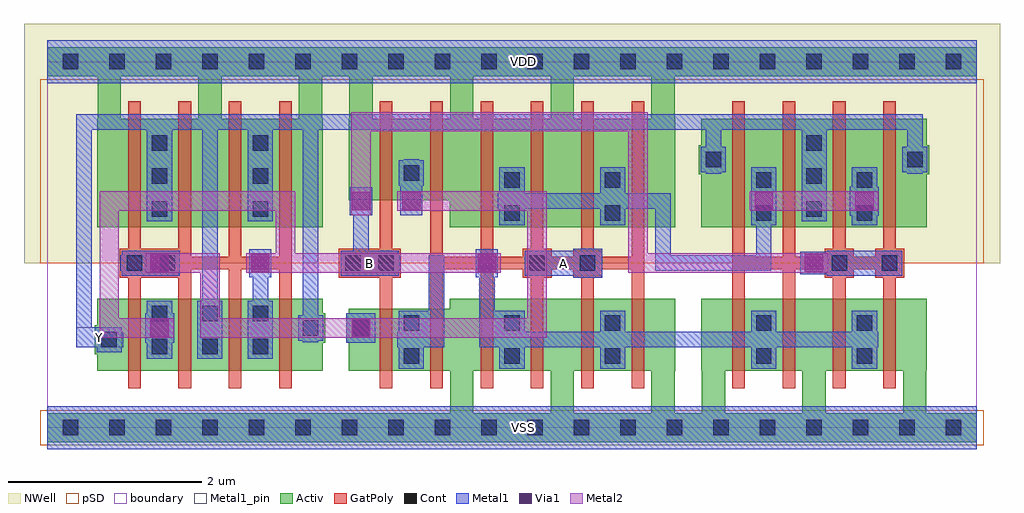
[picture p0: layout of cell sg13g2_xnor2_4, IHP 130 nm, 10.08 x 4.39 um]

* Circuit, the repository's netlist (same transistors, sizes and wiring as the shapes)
.SUBCKT sg13g2_xnor2_4 Y A B VDD VSS
*.PININFO A:I B:I Y:O VDD:B VSS:B
MP4 Y net1 VDD VDD sg13_lv_pmos w=4.48u l=130.00n ng=4
MP3 Y B net4 VDD sg13_lv_pmos w=4.48u l=130.00n ng=4
MP2 net4 A VDD VDD sg13_lv_pmos w=4.48u l=130.00n ng=4
MP1 net1 B VDD VDD sg13_lv_pmos w=840.00n l=130.00n ng=1
MP0 net1 A VDD VDD sg13_lv_pmos w=840.00n l=130.00n ng=1
MN3 Y net1 net3 VSS sg13_lv_nmos w=2.96u l=130.00n ng=4
MN1 net2 A VSS VSS sg13_lv_nmos w=640.00n l=130.00n ng=1
MN0 net1 B net2 VSS sg13_lv_nmos w=640.00n l=130.00n ng=1
MN4 net3 B VSS VSS sg13_lv_nmos w=2.96u l=130.00n ng=4
MN2 net3 A VSS VSS sg13_lv_nmos w=2.96u l=130.00n ng=4
.ENDS

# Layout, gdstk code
import gdstk
lib = gdstk.Library(unit=1e-6, precision=1e-09)
def R(c, l, rs):  # rectangles x0, y0, x1, y1
    for r in rs: c.add(gdstk.rectangle(r[:2], r[2:], *l))
def A(c, l, x, y, w, h, nx, ny, dx, dy):  # array of equal rectangles
    R(c, l, [(x+i*dx, y+j*dy, x+i*dx+w, y+j*dy+h) for i in range(nx) for j in range(ny)])
def P(c, l, *ps):  # polygons
    for p in ps: c.add(gdstk.Polygon(p, *l))
Activ = (1, 0)
GatPoly = (5, 0)
Cont = (6, 0)
Metal1 = (8, 0)
Metal1_pin = (8, 2)
Metal2 = (10, 0)
pSD = (14, 0)
Via1 = (19, 0)
NWell = (31, 0)
boundary = (189, 4)

sg13g2_xnor2_4 = lib.new_cell('sg13g2_xnor2_4')
P(sg13g2_xnor2_4, Activ, [(7,0.59),(7,1.33),(6.755,1.33),(6.755,0.59),(6.76,0.59),(6.76,0.15),(6.48,0.15),(6.48,0.59),(6.485,0.59),(6.485,1.33),(5.44,1.33),(5.44,0.59),(5.44,1.33),(4.4,1.33),(4.4,0.59),(4.4,1.33),(4.155,1.33),(4.155,1.23),(3.115,1.23),(3.115,1.18),(3.09,1.18),(3.09,0.88),(3.115,0.88),(3.115,0.59),(4.16,0.59),(4.16,0.15),(0,0.15),(0,-0.15),(4.4,-0.15),(4.4,0.59),(5.2,0.59),(5.2,0.15),(4.4,0.15),(4.4,-0.15),(5.44,-0.15),(5.44,0.59),(6.24,0.59),(6.24,0.15),(5.44,0.15),(5.44,-0.15),(7,-0.15),(9.6,-0.15),(9.6,0.15),(7,0.15),(7,-0.15),(7,0.59),(7.8,0.59),(7.8,0.15),(8.04,0.15),(8.04,0.59),(8.84,0.59),(8.84,0.15),(9.08,0.15),(9.08,0.59),(9.085,0.59),(9.085,1.33),(7,1.33)],
  [(3.36,3.63),(3.36,3.93),(1.8,3.93),(1.8,3.63),(1.8,3.93),(0.76,3.93),(0.76,3.63),(0.76,3.93),(0,3.93),(0,3.63),(0.52,3.63),(0.52,3.19),(0.515,3.19),(0.515,2.07),(0.76,2.07),(0.76,3.63),(1.56,3.63),(1.56,3.19),(0.76,3.19),(0.76,2.07),(1.8,2.07),(1.8,3.63),(2.6,3.63),(2.6,3.19),(1.8,3.19),(1.8,2.07),(2.845,2.07),(2.845,3.19),(2.84,3.19),(2.84,3.63),(3.12,3.63),(3.12,3.19),(3.115,3.19),(3.115,2.35),(3.36,2.35),(4.155,2.35),(4.155,2.07),(6.485,2.07),(6.485,3.19),(3.36,3.19),(3.36,2.35),(3.36,3.63),(4.16,3.63),(4.16,3.19),(4.4,3.19),(4.4,3.63),(5.2,3.63),(5.2,3.19),(5.44,3.19),(5.44,3.63),(6.24,3.63),(6.24,3.19),(6.48,3.19),(6.48,3.63),(9.6,3.63),(9.6,3.93),(3.36,3.93)],
  [(0.49,0.76),(0.515,0.76),(0.515,0.59),(2.845,0.59),(2.845,0.88),(2.87,0.88),(2.87,1.18),(2.845,1.18),(2.845,1.33),(0.515,1.33),(0.515,1.06),(0.49,1.06)],
  [(6.73,2.62),(6.755,2.62),(6.755,2.07),(9.085,2.07),(9.085,2.62),(9.11,2.62),(9.11,2.92),(9.085,2.92),(9.085,3.19),(6.755,3.19),(6.755,2.92),(6.73,2.92)])
P(sg13g2_xnor2_4, GatPoly, [(0.75,1.55),(0.835,1.55),(0.835,0.41),(0.965,0.41),(0.965,1.55),(1.355,1.55),(1.355,0.41),(1.485,0.41),(1.485,1.635),(1.875,1.635),(1.875,0.41),(2.005,0.41),(2.005,1.635),(2.395,1.635),(2.395,0.41),(2.525,0.41),(2.525,3.37),(2.395,3.37),(2.395,1.765),(2.005,1.765),(2.005,3.37),(1.875,3.37),(1.875,1.765),(1.485,1.765),(1.485,3.37),(1.355,3.37),(1.355,1.85),(0.965,1.85),(0.965,3.37),(0.835,3.37),(0.835,1.85),(0.75,1.85)],
  [(3.01,1.55),(3.435,1.55),(3.435,0.41),(3.565,0.41),(3.565,1.55),(3.65,1.55),(3.65,1.85),(3.565,1.85),(3.565,3.37),(3.435,3.37),(3.435,1.85),(3.01,1.85)],
  [(3.955,0.41),(4.085,0.41),(4.085,1.635),(4.475,1.635),(4.475,0.41),(4.605,0.41),(4.605,1.635),(4.91,1.635),(4.91,1.55),(4.995,1.55),(4.995,0.41),(5.125,0.41),(5.125,1.55),(5.21,1.55),(5.21,1.635),(5.43,1.635),(5.43,1.55),(5.515,1.55),(5.515,0.41),(5.645,0.41),(5.645,1.55),(5.73,1.55),(5.73,1.635),(6.035,1.635),(6.035,0.41),(6.165,0.41),(6.165,3.37),(6.035,3.37),(6.035,1.765),(5.73,1.765),(5.73,1.85),(5.645,1.85),(5.645,3.37),(5.515,3.37),(5.515,1.85),(5.43,1.85),(5.43,1.765),(5.21,1.765),(5.21,1.85),(5.125,1.85),(5.125,3.37),(4.995,3.37),(4.995,1.85),(4.91,1.85),(4.91,1.765),(4.605,1.765),(4.605,3.37),(4.475,3.37),(4.475,1.765),(4.085,1.765),(4.085,3.37),(3.955,3.37)],
  [(7.075,0.41),(7.205,0.41),(7.205,1.635),(7.595,1.635),(7.595,0.41),(7.725,0.41),(7.725,1.635),(8.03,1.635),(8.03,1.55),(8.115,1.55),(8.115,0.41),(8.245,0.41),(8.245,1.55),(8.33,1.55),(8.33,1.635),(8.55,1.635),(8.55,1.55),(8.635,1.55),(8.635,0.41),(8.765,0.41),(8.765,1.55),(8.85,1.55),(8.85,1.85),(8.765,1.85),(8.765,3.37),(8.635,3.37),(8.635,1.85),(8.55,1.85),(8.55,1.765),(8.33,1.765),(8.33,1.85),(8.245,1.85),(8.245,3.37),(8.115,3.37),(8.115,1.85),(8.03,1.85),(8.03,1.765),(7.725,1.765),(7.725,3.37),(7.595,3.37),(7.595,1.765),(7.205,1.765),(7.205,3.37),(7.075,3.37)])
A(sg13g2_xnor2_4, Cont, 0.16, -0.08, 0.16, 0.16, 20, 2, 0.48, 3.78)
A(sg13g2_xnor2_4, Cont, 3.68, 0.66, 0.16, 0.16, 3, 2, 1.04, 0.34)
A(sg13g2_xnor2_4, Cont, 1.08, 0.76, 0.16, 0.16, 3, 2, 0.52, 0.34)
A(sg13g2_xnor2_4, Cont, 1.08, 2.18, 0.16, 0.16, 1, 3, 0, 0.34)
A(sg13g2_xnor2_4, Cont, 2.12, 2.18, 0.16, 0.16, 1, 3, 0, 0.34)
A(sg13g2_xnor2_4, Cont, 7.84, 2.18, 0.16, 0.16, 1, 3, 0, 0.34)
R(sg13g2_xnor2_4, Cont, [(7.32,0.66,7.48,0.82), (8.36,0.66,8.52,0.82), (0.56,0.83,0.72,0.99), (2.64,0.95,2.8,1.11), (3.16,0.95,3.32,1.11), (7.32,1,7.48,1.16), (8.36,1,8.52,1.16), (0.82,1.62,0.98,1.78), (1.16,1.62,1.32,1.78), (3.08,1.62,3.24,1.78), (3.42,1.62,3.58,1.78), (4.98,1.62,5.14,1.78), (5.5,1.62,5.66,1.78), (8.1,1.62,8.26,1.78), (8.62,1.62,8.78,1.78), (4.72,2.14,4.88,2.3), (5.76,2.14,5.92,2.3), (7.32,2.14,7.48,2.3), (8.36,2.14,8.52,2.3), (4.72,2.48,4.88,2.64), (5.76,2.48,5.92,2.64), (7.32,2.48,7.48,2.64), (8.36,2.48,8.52,2.64), (3.68,2.55,3.84,2.71), (6.8,2.69,6.96,2.85), (8.88,2.69,9.04,2.85)])
R(sg13g2_xnor2_4, Metal1, [(0,-0.22,9.6,0.22), (3.09,0.88,3.39,1.18), (0,3.56,9.6,4)])
P(sg13g2_xnor2_4, Metal1, [(0.3,0.83),(0.51,0.83),(0.51,0.78),(0.77,0.78),(0.77,0.83),(0.785,0.83),(0.785,0.99),(0.77,0.99),(0.77,1.04),(0.46,1.04),(0.46,3.08),(1.015,3.08),(1.015,3.07),(1.03,3.07),(1.03,2.13),(1.29,2.13),(1.29,3.07),(1.305,3.07),(1.305,3.08),(1.6,3.08),(1.6,1.31),(1.55,1.31),(1.55,0.71),(1.81,0.71),(1.81,1.31),(1.76,1.31),(1.76,3.08),(2.07,3.08),(2.07,2.13),(2.33,2.13),(2.33,3.08),(2.64,3.08),(2.64,1.16),(2.59,1.16),(2.59,0.9),(2.64,0.9),(2.64,0.885),(2.8,0.885),(2.8,0.9),(2.85,0.9),(2.85,1.16),(2.8,1.16),(2.8,3.08),(6.8,3.08),(6.8,2.9),(6.75,2.9),(6.75,2.64),(6.8,2.64),(6.8,2.625),(6.96,2.625),(6.96,2.64),(7.01,2.64),(7.01,2.9),(6.96,2.9),(6.96,3.08),(7.775,3.08),(7.775,3.07),(7.79,3.07),(7.79,2.13),(8.05,2.13),(8.05,3.07),(8.065,3.07),(8.065,3.08),(8.88,3.08),(8.88,2.9),(8.83,2.9),(8.83,2.64),(8.88,2.64),(8.88,2.625),(9.04,2.625),(9.04,2.64),(9.09,2.64),(9.09,2.9),(9.04,2.9),(9.04,3.24),(0.3,3.24)],
  [(0.755,1.62),(0.77,1.62),(0.77,1.57),(1.37,1.57),(1.37,1.83),(0.77,1.83),(0.77,1.78),(0.755,1.78)],
  [(1.01,0.88),(1.03,0.88),(1.03,0.71),(1.29,0.71),(1.29,0.88),(1.31,0.88),(1.31,1.18),(1.29,1.18),(1.29,1.31),(1.03,1.31),(1.03,1.18),(1.01,1.18)],
  [(2.07,0.71),(2.33,0.71),(2.33,1.31),(2.28,1.31),(2.28,1.555),(2.315,1.555),(2.315,1.845),(2.085,1.845),(2.085,1.555),(2.12,1.555),(2.12,1.31),(2.07,1.31)],
  [(3.03,1.57),(3.63,1.57),(3.63,1.62),(3.645,1.62),(3.645,1.78),(3.63,1.78),(3.63,1.83),(3.32,1.83),(3.32,2.195),(3.355,2.195),(3.355,2.485),(3.125,2.485),(3.125,2.195),(3.16,2.195),(3.16,1.83),(3.03,1.83)],
  [(3.615,0.83),(3.63,0.83),(3.63,0.61),(3.89,0.61),(3.89,0.83),(4.1,0.83),(4.1,1.78),(3.94,1.78),(3.94,1.21),(3.63,1.21),(3.63,0.99),(3.615,0.99)],
  [(3.63,2.5),(3.645,2.5),(3.645,2.195),(3.875,2.195),(3.875,2.5),(3.89,2.5),(3.89,2.76),(3.84,2.76),(3.84,2.775),(3.68,2.775),(3.68,2.76),(3.63,2.76)],
  [(4.425,1.555),(4.46,1.555),(4.46,0.83),(4.67,0.83),(4.67,0.61),(4.93,0.61),(4.93,0.83),(5.71,0.83),(5.71,0.61),(5.97,0.61),(5.97,0.83),(7.27,0.83),(7.27,0.61),(7.53,0.61),(7.53,0.83),(8.31,0.83),(8.31,0.61),(8.57,0.61),(8.57,0.83),(8.585,0.83),(8.585,0.99),(8.57,0.99),(8.57,1.21),(8.31,1.21),(8.31,0.99),(7.53,0.99),(7.53,1.21),(7.27,1.21),(7.27,0.99),(5.97,0.99),(5.97,1.21),(5.71,1.21),(5.71,0.99),(4.93,0.99),(4.93,1.21),(4.62,1.21),(4.62,1.555),(4.655,1.555),(4.655,1.845),(4.425,1.845)],
  [(4.655,2.26),(4.67,2.26),(4.67,2.09),(4.93,2.09),(4.93,2.26),(5.71,2.26),(5.71,2.09),(5.97,2.09),(5.97,2.26),(6.28,2.26),(6.28,1.62),(7.48,1.62),(7.48,2.09),(7.53,2.09),(7.53,2.69),(7.27,2.69),(7.27,2.09),(7.32,2.09),(7.32,1.78),(6.44,1.78),(6.44,2.42),(5.97,2.42),(5.97,2.69),(5.71,2.69),(5.71,2.42),(4.93,2.42),(4.93,2.69),(4.67,2.69),(4.67,2.42),(4.655,2.42)],
  [(4.93,1.57),(5.43,1.57),(5.43,1.55),(5.73,1.55),(5.73,1.85),(5.43,1.85),(5.43,1.83),(4.93,1.83)],
  [(7.775,1.585),(8.05,1.585),(8.05,1.57),(8.83,1.57),(8.83,1.83),(8.05,1.83),(8.05,1.815),(7.775,1.815)],
  [(8.29,2.19),(8.31,2.19),(8.31,2.09),(8.57,2.09),(8.57,2.19),(8.59,2.19),(8.59,2.49),(8.57,2.49),(8.57,2.69),(8.31,2.69),(8.31,2.49),(8.29,2.49)])
R(sg13g2_xnor2_4, Metal1_pin, [(0,-0.22,9.6,0.22), (0.3,0.83,0.77,1.04), (3.03,1.57,3.63,1.83), (4.93,1.57,5.73,1.83), (0,3.56,9.6,4)])
R(sg13g2_xnor2_4, Metal2, [(7.255,2.24,8.585,2.44)])
P(sg13g2_xnor2_4, Metal2, [(0.54,0.93),(1.305,0.93),(1.305,1.13),(0.74,1.13),(0.74,2.24),(2.36,2.24),(2.36,1.8),(2.055,1.8),(2.055,1.6),(4.685,1.6),(4.685,1.8),(2.56,1.8),(2.56,2.44),(0.54,2.44)],
  [(1.015,1.6),(1.58,1.6),(1.58,0.93),(5.16,0.93),(5.16,2.44),(3.615,2.44),(3.615,2.24),(4.96,2.24),(4.96,1.13),(1.78,1.13),(1.78,1.8),(1.015,1.8)],
  [(3.14,2.195),(3.34,2.195),(3.34,3.06),(6,3.06),(6,1.6),(8.065,1.6),(8.065,1.8),(6.2,1.8),(6.2,3.26),(3.14,3.26)])
R(sg13g2_xnor2_4, pSD, [(-0.07,-0.18,9.67,0.18), (-0.07,1.7,9.67,3.6)])
R(sg13g2_xnor2_4, Via1, [(1.065,0.935,1.255,1.125), (3.145,0.935,3.335,1.125), (1.065,1.605,1.255,1.795), (2.105,1.605,2.295,1.795), (4.445,1.605,4.635,1.795), (7.825,1.605,8.015,1.795), (3.145,2.245,3.335,2.435), (3.665,2.245,3.855,2.435), (7.305,2.245,7.495,2.435), (8.345,2.245,8.535,2.435)])
R(sg13g2_xnor2_4, NWell, [(-0.24,1.7,9.84,4.17)])
R(sg13g2_xnor2_4, boundary, [(0,0,9.6,3.78)])
sg13g2_xnor2_4.add(gdstk.Label('Y', (0.535,0.935), layer=8, texttype=25))
sg13g2_xnor2_4.add(gdstk.Label('B', (3.33,1.7), layer=8, texttype=25))
sg13g2_xnor2_4.add(gdstk.Label('A', (5.33,1.7), layer=8, texttype=25))
sg13g2_xnor2_4.add(gdstk.Label('VSS', (4.92,0), layer=8, texttype=25))
sg13g2_xnor2_4.add(gdstk.Label('VDD', (4.92,3.78), layer=8, texttype=25))

lib.write_gds('sg13g2_xnor2_4.gds')
